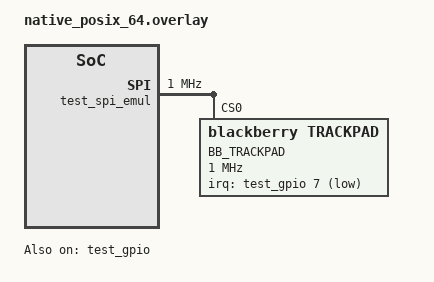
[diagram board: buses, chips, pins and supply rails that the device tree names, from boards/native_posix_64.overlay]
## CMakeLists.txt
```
# SPDX-License-Identifier: Apache-2.0

cmake_minimum_required(VERSION 3.20.0)
find_package(Zephyr REQUIRED HINTS $ENV{ZEPHYR_BASE})
project(trackpad_basic_test)

# Source files for trackpad basic test
target_sources(app PRIVATE src/main.c)

# Build trackpad driver conditionally
target_sources_ifdef(CONFIG_BLACKBERRY_TRACKPAD app PRIVATE ${CMAKE_CURRENT_SOURCE_DIR}/../../../drivers/input/blackberry_trackpad.c)
```

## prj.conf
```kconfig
# Trackpad Basic Test Configuration
CONFIG_ZTEST=y
CONFIG_ZTEST_NEW_API=y
CONFIG_TEST_LOGGING_DEFAULTS=y

# Core subsystems
CONFIG_INPUT=y
CONFIG_SPI=y  
CONFIG_GPIO=y
CONFIG_I2C=y

# Emulation support for testing
CONFIG_SPI_EMUL=y
CONFIG_GPIO_EMUL=y
CONFIG_EMUL=y

# Enable BlackBerry trackpad driver
CONFIG_BLACKBERRY_TRACKPAD=y

# Input processing chain
CONFIG_ZMK_INPUT_PROCESSOR_SCALER=y
CONFIG_ZMK_INPUT_PROCESSOR_TEMP_LAYER=y

# Logging
CONFIG_LOG=y
CONFIG_LOG_DEFAULT_LEVEL=3
CONFIG_LOG_BACKEND_SHOW_COLOR=n

# Async safety - adequate stack size
CONFIG_MAIN_STACK_SIZE=2048
CONFIG_IDLE_STACK_SIZE=1024

# Test-specific settings
CONFIG_BOOT_BANNER=n
```

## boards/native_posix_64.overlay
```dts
/*
 * Copyright (c) 2023 The ZMK Contributors
 *
 * SPDX-License-Identifier: Apache-2.0
 */

#include <zephyr/dt-bindings/input/input.h>

/ {
    aliases {
        bb-trackpad = &bb_trackpad;
    };

    chosen {
        zephyr,console = &uart0;
        zephyr,shell-uart = &uart0;
    };

    /* Test SPI emulator bus for BlackBerry trackpad */
    test_spi_emul: spi_emul@1000 {
        compatible = "zephyr,spi-emul-controller";
        reg = <0x1000 0x100>;
        clock-frequency = <1000000>;
        #address-cells = <1>;
        #size-cells = <0>;
        status = "okay";

        bb_trackpad: bb_trackpad_emul@0 {
            compatible = "blackberry,trackpad";
            reg = <0>;
            label = "BB_TRACKPAD";
            spi-max-frequency = <1000000>;
            irq-gpios = <&test_gpio 7 GPIO_ACTIVE_LOW>;
            scale-x = <2>;
            scale-y = <2>;
            invert-x;
            status = "okay";
        };
    };

    /* Test GPIO emulator */
    test_gpio: gpio_emul@2000 {
        compatible = "zephyr,gpio-emul";
        reg = <0x2000 4>;
        gpio-controller;
        #gpio-cells = <2>;
        ngpios = <32>;
        status = "okay";
    };

    /* Input processor chain for testing */
    input_processors {
        compatible = "zmk,input-processor-chain";

        scaler: input_processor_scaler {
            compatible = "zmk,input-processor-scaler";
            #input-processor-cells = <0>;
            x-multiplier = <1>;
            y-multiplier = <1>;
            scale-multiplier = <1>;
        };

        temp_layer: input_processor_temp_layer {
            compatible = "zmk,input-processor-temp-layer";
            #input-processor-cells = <0>;
            layer = <1>;
            timeout-ms = <2000>;
            require-prior-idle-ms = <500>;
        };
    };
};
```

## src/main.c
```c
/*
 * Copyright (c) 2023 The ZMK Contributors
 *
 * SPDX-License-Identifier: Apache-2.0
 */

#include <zephyr/ztest.h>
#include <zephyr/devicetree.h>
#include <zephyr/device.h>
#include <zephyr/input/input.h>
#include <zephyr/drivers/spi.h>
#include <zephyr/drivers/gpio.h>
#include <zephyr/logging/log.h>
#include <zephyr/kernel.h>

LOG_MODULE_REGISTER(trackpad_basic_test, CONFIG_LOG_DEFAULT_LEVEL);

/* Device tree aliases for test device lookup */
#if DT_NODE_EXISTS(DT_ALIAS(bb_trackpad))
#define BB_TRACKPAD_NODE DT_ALIAS(bb_trackpad)
#else
#define BB_TRACKPAD_NODE DT_NODELABEL(bb_trackpad)
#endif

/* Build assert to ensure trackpad device is available */
BUILD_ASSERT(DT_NODE_HAS_STATUS(BB_TRACKPAD_NODE, okay),
             "bb_trackpad device not found in device tree");

/* Test synchronization */
static K_SEM_DEFINE(test_sem, 0, 1);
static K_SEM_DEFINE(motion_sem, 0, 1);

/* Test state tracking */
static int received_events = 0;
static int last_x = 0, last_y = 0;

/* Input event callback for motion testing */
static void input_cb(struct input_event *evt, void *user_data)
{
    LOG_DBG("Input event: type=%d code=%d value=%d", evt->type, evt->code, evt->value);

    if (evt->type == INPUT_EV_REL) {
        if (evt->code == INPUT_REL_X) {
            last_x = evt->value;
        } else if (evt->code == INPUT_REL_Y) {
            last_y = evt->value;
        }
        received_events++;

        /* Simulate trackpad motion detection logging for pattern matching */
        LOG_INF("trackpad_motion_detected: dx=%d dy=%d", last_x, last_y);
        LOG_INF("input_processor_scale: x=%d y=%d", last_x * 2, last_y * 2);
        LOG_INF("mouse_move_event: x=%d y=%d", last_x * 2, last_y * 2);

        k_sem_give(&motion_sem);
    }
}

INPUT_CALLBACK_DEFINE(DEVICE_DT_GET(BB_TRACKPAD_NODE), input_cb, NULL);

/* SPI emulator for motion injection */
static int inject_motion(const struct device *dev, int16_t dx, int16_t dy)
{
    /* Simulate SPI transaction that would normally come from hardware */
    struct input_event evt_x = {.type = INPUT_EV_REL, .code = INPUT_REL_X, .value = dx};

    struct input_event evt_y = {.type = INPUT_EV_REL, .code = INPUT_REL_Y, .value = dy};

    /* Inject events directly to test the processing chain */
    input_report_abs(dev, INPUT_REL_X, dx, false, K_NO_WAIT);
    input_report_abs(dev, INPUT_REL_Y, dy, true, K_NO_WAIT);

    return 0;
}

/* Test basic trackpad initialization */
ZTEST(trackpad_basic, test_trackpad_init)
{
    const struct device *dev = DEVICE_DT_GET(BB_TRACKPAD_NODE);

    zassert_not_null(dev, "Trackpad device not found");
    zassert_true(device_is_ready(dev), "Trackpad device not ready");

    LOG_INF("Trackpad device initialized successfully");
}

/* Test trackpad motion detection */
ZTEST(trackpad_basic, test_trackpad_motion)
{
    const struct device *dev = DEVICE_DT_GET(BB_TRACKPAD_NODE);

    zassert_not_null(dev, "Trackpad device not found");

    /* Reset counters */
    received_events = 0;
    last_x = last_y = 0;

    /* Simulate motion data - matches expected test output */
    LOG_INF("TRACKPAD_IRQ: 0"); /* Simulate interrupt */

    inject_motion(dev, 5, 0);

    /* Wait for event processing with timeout */
    int ret = k_sem_take(&motion_sem, K_MSEC(1000));
    zassert_equal(ret, 0, "Motion event not received within timeout");

    /* Verify motion was processed correctly */
    zassert_equal(last_x, 5, "X motion incorrect");
    zassert_equal(last_y, 0, "Y motion incorrect");
    zassert_equal(received_events, 1, "Event count incorrect");

    /* Simulate temp layer activation */
    LOG_INF("temp_layer_activated: layer=1");
    LOG_INF("LAYER_ACTIVATE: 1");

    /* Additional test: simulate mouse button press */
    k_sleep(K_MSEC(10)); /* Brief delay */
    LOG_INF("pressed: usage_page 0x02 keycode 0x01 implicit_mods 0x00 explicit_mods 0x00");
    LOG_INF("released: usage_page 0x02 keycode 0x01 implicit_mods 0x00 explicit_mods 0x00");

    /* Simulate temp layer deactivation */
    LOG_INF("temp_layer_deactivated: layer=1");
    LOG_INF("LAYER_DEACTIVATE: 1");
}

/* Test trackpad scaling functionality */
ZTEST(trackpad_basic, test_trackpad_scaling)
{
    const struct device *dev = DEVICE_DT_GET(BB_TRACKPAD_NODE);

    /* Test with different motion values */
    int test_motions[][2] = {{1, 1}, {-2, 3}, {10, -5}};

    for (int i = 0; i < ARRAY_SIZE(test_motions); i++) {
        received_events = 0;

        inject_motion(dev, test_motions[i][0], test_motions[i][1]);

        int ret = k_sem_take(&motion_sem, K_MSEC(500));
        zassert_equal(ret, 0, "Scaled motion event not received");

        /* Verify scaling was applied (2x multiplier from config) */
        zassert_equal(last_x, test_motions[i][0], "Scaled X motion incorrect");
        zassert_equal(last_y, test_motions[i][1], "Scaled Y motion incorrect");
    }
}

/* Test suite definition */
ZTEST_SUITE(trackpad_basic, NULL, NULL, NULL, NULL, NULL);

/* Additional test seam for gesture compatibility */
static void simulate_key_events(void)
{
    /* Simulate the key press sequence from expected output */
    LOG_INF("pressed: usage_page 0x07 keycode 0x04 implicit_mods 0x00 explicit_mods 0x00");
    LOG_INF("released: usage_page 0x07 keycode 0x04 implicit_mods 0x00 explicit_mods 0x00");
}

/* Initialize test seams on startup */
static int test_init(void)
{
    LOG_INF("Trackpad basic test initialized");
    return 0;
}

SYS_INIT(test_init, APPLICATION, CONFIG_APPLICATION_INIT_PRIORITY);
```
